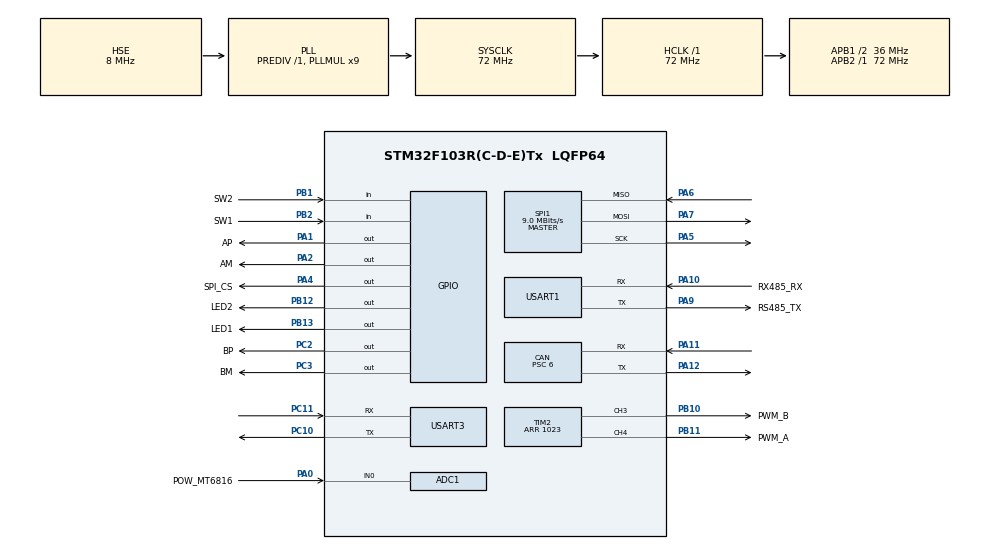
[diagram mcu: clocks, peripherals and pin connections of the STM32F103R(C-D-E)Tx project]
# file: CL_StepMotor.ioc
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ADC1.Channel-0\#ChannelRegularConversion=ADC_CHANNEL_0
ADC1.NbrOfConversionFlag=1
ADC1.Rank-0\#ChannelRegularConversion=1
ADC1.SamplingTime-0\#ChannelRegularConversion=ADC_SAMPLETIME_1CYCLE_5
ADC1.master=1
CAN.BS1=CAN_BS1_9TQ
CAN.BS2=CAN_BS2_2TQ
CAN.CalculateBaudRate=499999
CAN.CalculateTimeBit=2000
CAN.CalculateTimeQuantum=166.66666666666669
CAN.Prescaler=6
CAN.SJW=CAN_SJW_1TQ
Dma.ADC1.0.Direction=DMA_PERIPH_TO_MEMORY
Dma.ADC1.0.Instance=DMA1_Channel1
Dma.ADC1.0.MemDataAlignment=DMA_MDATAALIGN_HALFWORD
Dma.ADC1.0.MemInc=DMA_MINC_ENABLE
Dma.ADC1.0.Mode=DMA_CIRCULAR
Dma.ADC1.0.PeriphDataAlignment=DMA_PDATAALIGN_HALFWORD
Dma.ADC1.0.PeriphInc=DMA_PINC_DISABLE
Dma.ADC1.0.Priority=DMA_PRIORITY_VERY_HIGH
Dma.Request0=ADC1
Dma.Request1=USART3_RX
Dma.Request2=USART3_TX
Dma.Request3=USART1_RX
Dma.Request4=USART1_TX
Dma.USART1_RX.3.Direction=DMA_PERIPH_TO_MEMORY
Dma.USART1_RX.3.Instance=DMA1_Channel5
Dma.USART1_RX.3.MemDataAlignment=DMA_MDATAALIGN_BYTE
Dma.USART1_RX.3.MemInc=DMA_MINC_ENABLE
Dma.USART1_RX.3.Mode=DMA_CIRCULAR
Dma.USART1_RX.3.PeriphDataAlignment=DMA_PDATAALIGN_BYTE
Dma.USART1_RX.3.PeriphInc=DMA_PINC_DISABLE
Dma.USART1_RX.3.Priority=DMA_PRIORITY_HIGH
Dma.USART1_TX.4.Direction=DMA_MEMORY_TO_PERIPH
Dma.USART1_TX.4.Instance=DMA1_Channel4
Dma.USART1_TX.4.MemDataAlignment=DMA_MDATAALIGN_BYTE
Dma.USART1_TX.4.MemInc=DMA_MINC_ENABLE
Dma.USART1_TX.4.Mode=DMA_NORMAL
Dma.USART1_TX.4.PeriphDataAlignment=DMA_PDATAALIGN_BYTE
Dma.USART1_TX.4.PeriphInc=DMA_PINC_DISABLE
Dma.USART1_TX.4.Priority=DMA_PRIORITY_HIGH
Dma.USART3_RX.1.Direction=DMA_PERIPH_TO_MEMORY
Dma.USART3_RX.1.Instance=DMA1_Channel3
Dma.USART3_RX.1.MemDataAlignment=DMA_MDATAALIGN_BYTE
Dma.USART3_RX.1.MemInc=DMA_MINC_ENABLE
Dma.USART3_RX.1.Mode=DMA_CIRCULAR
Dma.USART3_RX.1.PeriphDataAlignment=DMA_PDATAALIGN_BYTE
Dma.USART3_RX.1.PeriphInc=DMA_PINC_DISABLE
Dma.USART3_RX.1.Priority=DMA_PRIORITY_VERY_HIGH
Dma.USART3_TX.2.Direction=DMA_MEMORY_TO_PERIPH
Dma.USART3_TX.2.Instance=DMA1_Channel2
Dma.USART3_TX.2.MemDataAlignment=DMA_MDATAALIGN_BYTE
Dma.USART3_TX.2.MemInc=DMA_MINC_ENABLE
Dma.USART3_TX.2.Mode=DMA_NORMAL
Dma.USART3_TX.2.PeriphDataAlignment=DMA_PDATAALIGN_BYTE
Dma.USART3_TX.2.PeriphInc=DMA_PINC_DISABLE
Dma.USART3_TX.2.Priority=DMA_PRIORITY_HIGH
Mcu.Family=STM32F1
Mcu.Name=STM32F103R(C-D-E)Tx
Mcu.Package=LQFP64
NVIC.CAN1_RX1_IRQn=true\:0\:0\:false\:false\:true\:true\:true\:true
NVIC.CAN1_SCE_IRQn=true\:0\:0\:false\:false\:true\:true\:true\:true
NVIC.DMA1_Channel1_IRQn=true\:0\:0\:false\:false\:true\:false\:true\:true
NVIC.DMA1_Channel2_IRQn=true\:0\:0\:false\:false\:true\:false\:true\:true
NVIC.DMA1_Channel3_IRQn=true\:0\:0\:false\:false\:true\:false\:true\:true
NVIC.DMA1_Channel4_IRQn=true\:0\:0\:false\:false\:true\:false\:true\:true
NVIC.DMA1_Channel5_IRQn=true\:0\:0\:false\:false\:true\:false\:true\:true
NVIC.PriorityGroup=NVIC_PRIORITYGROUP_4
NVIC.TIM1_UP_IRQn=true\:1\:0\:true\:false\:true\:true\:true\:true
NVIC.TIM3_IRQn=true\:2\:0\:true\:false\:true\:true\:true\:true
NVIC.TIM4_IRQn=true\:0\:0\:true\:false\:true\:true\:true\:true
NVIC.USART1_IRQn=true\:1\:0\:true\:false\:true\:true\:true\:true
NVIC.USART3_IRQn=true\:1\:0\:true\:false\:true\:true\:true\:true
NVIC.USB_HP_CAN1_TX_IRQn=true\:0\:0\:false\:false\:true\:true\:true\:true
NVIC.USB_LP_CAN1_RX0_IRQn=true\:0\:0\:false\:false\:true\:true\:true\:true
PA0-WKUP.GPIO_Label=POW_MT6816
PA0-WKUP.Signal=ADCx_IN0
PA1.GPIO_Label=AP
PA1.Signal=GPIO_Output
PA10.GPIO_Label=RX485_RX
PA10.Mode=Asynchronous
PA10.Signal=USART1_RX
PA11.Mode=CAN_Activate
PA11.Signal=CAN_RX
PA12.Mode=CAN_Activate
PA12.Signal=CAN_TX
PA13.Mode=Serial_Wire
PA13.Signal=SYS_JTMS-SWDIO
PA14.Mode=Serial_Wire
PA14.Signal=SYS_JTCK-SWCLK
PA2.GPIO_Label=AM
PA2.Signal=GPIO_Output
PA4.GPIO_Label=SPI_CS
PA4.GPIO_Speed=GPIO_SPEED_FREQ_HIGH
PA4.Signal=GPIO_Output
PA5.Mode=Full_Duplex_Master
PA5.Signal=SPI1_SCK
PA6.Mode=Full_Duplex_Master
PA6.Signal=SPI1_MISO
PA7.Mode=Full_Duplex_Master
PA7.Signal=SPI1_MOSI
PA9.GPIO_Label=RS485_TX
PA9.Mode=Asynchronous
PA9.Signal=USART1_TX
PB1.GPIO_Label=SW2
PB1.GPIO_PuPd=GPIO_PULLUP
PB1.Signal=GPIO_Input
PB10.GPIO_Label=PWM_B
PB10.Signal=S_TIM2_CH3
PB11.GPIO_Label=PWM_A
PB11.Signal=S_TIM2_CH4
PB12.GPIO_Label=LED2
PB12.Signal=GPIO_Output
PB13.GPIO_Label=LED1
PB13.Signal=GPIO_Output
PB2.GPIO_Label=SW1
PB2.GPIO_PuPd=GPIO_PULLUP
PB2.Signal=GPIO_Input
PC10.Mode=Asynchronous
PC10.Signal=USART3_TX
PC11.Mode=Asynchronous
PC11.Signal=USART3_RX
PC2.GPIO_Label=BP
PC2.Signal=GPIO_Output
PC3.GPIO_Label=BM
PC3.Signal=GPIO_Output
PD0-OSC_IN.Mode=HSE-External-Oscillator
PD0-OSC_IN.Signal=RCC_OSC_IN
PD1-OSC_OUT.Mode=HSE-External-Oscillator
PD1-OSC_OUT.Signal=RCC_OSC_OUT
ProjectManager.HeapSize=0x200
ProjectManager.StackSize=0x400
ProjectManager.TargetToolchain=MDK-ARM V5.32
RCC.ADCPresc=RCC_ADCPCLK2_DIV6
RCC.AHBFreq_Value=72000000
RCC.APB1CLKDivider=RCC_HCLK_DIV2
RCC.APB1Freq_Value=36000000
RCC.APB1TimFreq_Value=72000000
RCC.APB2Freq_Value=72000000
RCC.APB2TimFreq_Value=72000000
RCC.HCLKFreq_Value=72000000
RCC.PLLMUL=RCC_PLL_MUL9
RCC.PLLSourceVirtual=RCC_PLLSOURCE_HSE
RCC.SYSCLKFreq_VALUE=72000000
RCC.SYSCLKSource=RCC_SYSCLKSOURCE_PLLCLK
RCC.USBFreq_Value=72000000
SH.ADCx_IN0.0=ADC1_IN0,IN0
SH.S_TIM2_CH3.0=TIM2_CH3,PWM Generation3 CH3
SH.S_TIM2_CH4.0=TIM2_CH4,PWM Generation4 CH4
SPI1.BaudRatePrescaler=SPI_BAUDRATEPRESCALER_8
SPI1.CLKPhase=SPI_PHASE_2EDGE
SPI1.CLKPolarity=SPI_POLARITY_HIGH
SPI1.CalculateBaudRate=9.0 MBits/s
SPI1.DataSize=SPI_DATASIZE_16BIT
SPI1.Direction=SPI_DIRECTION_2LINES
SPI1.Mode=SPI_MODE_MASTER
SPI1.VirtualType=VM_MASTER
TIM1.AutoReloadPreload=TIM_AUTORELOAD_PRELOAD_ENABLE
TIM1.Period=9999
TIM1.Prescaler=71
TIM2.Channel-PWM\ Generation3\ CH3=TIM_CHANNEL_3
TIM2.Channel-PWM\ Generation4\ CH4=TIM_CHANNEL_4
TIM2.Period=1023
TIM3.Period=35
TIM3.Prescaler=3599
TIM4.AutoReloadPreload=TIM_AUTORELOAD_PRELOAD_ENABLE
TIM4.Period=49
TIM4.Prescaler=71
USART1.VirtualMode=VM_ASYNC
USART3.VirtualMode=VM_ASYNC
VP_TIM1_VS_ClockSourceINT.Mode=Internal
VP_TIM2_VS_ClockSourceINT.Mode=Internal
VP_TIM3_VS_ClockSourceINT.Mode=Internal
VP_TIM4_VS_ClockSourceINT.Mode=Internal
board=custom

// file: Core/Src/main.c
/* USER CODE BEGIN Header */
/**
  ******************************************************************************
  * @file           : main.c
  * @brief          : Main program body
  ******************************************************************************
  * @attention
  *
  * Copyright (c) 2026 STMicroelectronics.
  * All rights reserved.
  *
  * This software is licensed under terms that can be found in the LICENSE file
  * in the root directory of this software component.
  * If no LICENSE file comes with this software, it is provided AS-IS.
  *
  ******************************************************************************
  */
/* USER CODE END Header */
#include "main.h"
#include "adc.h"
#include "can.h"
#include "dma.h"
#include "spi.h"
#include "tim.h"
#include "usart.h"
#include "gpio.h"

/* USER CODE BEGIN Includes */
#include <stdio.h>
#include "led_drv.h"
#include "uart_drv.h"
#include "button_usr.h"
#include "tb67h450_usr.h"
#include "mt6816_usr.h"
#include "encoder_calibrator_usr.h"
#include "motor_usr.h"
#include "tim_test.h"
/* USER CODE END Includes */

/* USER CODE BEGIN PV */
/* 电机配置：默认值按 .cl/memory/ 推导（config_usr 未建，先硬编码默认，任务4 后接 EEPROM） */
static Motor_Config_T s_motor_config = {
    .encoderHomeOffset = 0,
    .ratedCurrent = 2000,                          /* 电流限幅 2000mA（42 步进额定 2A） */
    .ratedVelocity = 2 * USR_MOTOR_SUBDIVIDE_STEPS, /* 速度限幅 2圈/s（步进低速区间，防失步） */
    .ratedVelocityAcc = 100 * USR_MOTOR_SUBDIVIDE_STEPS, /* 加速度 100圈/s²
        =5120000（依据 .cl/memory/ planner_rated_velocity_acc） */
    .ratedCurrentAcc = 2000,                       /* 电流加速度 2000mA/s（memory） */
    .posKp = 32768,                                /* 位置环增益 32（128 实测：减速窗口缩至 672 步<滑行 512→冲过目标；32→窗口 3072 步，MIN_VEL 已解死区边缘拉锯） */
    .pidKp = 10,                                   /* 速度环增益 10（5 实测堵转输出上限 636mA 推不动齿隙摩擦→卡死；10→1270mA 冲破；MIN_VEL 防假速度拉锯） */
    .pidKd = 400,                                  /* 速度环阻尼 400（8/13 已验证；800 实测饱和成 bang-bang 激励振荡） */
    .stallProtectSwitch = false,                   /* 任务A 对照实验：关堵转保护（DCE 积分保持电流可能顶格
       误报；参考默认 enableStallProtect=false，memory config_default_enable） */
};

/* 任务A 测试钩子（DCE 积分保持落点精度对照实验，验收后删）：
   SW2 单击 → 90°/180°/270°/360° 循环，FINISH 后打印落点误差 err=raw-goal；
   100Hz 遥测持续打印 T:raw,vel,cur,state 观察到位保持段摆振
   8/17 fix（沿用 B）：按键后先等 STATE_RUNNING（确认新命令已启动）再等
   FINISH——否则按键瞬间电机仍停在旧目标（旧 FINISH 未失效）→ err 被污染 */
#define TEST_A_GOAL_NUM 4U
static const int32_t s_test_a_goals[TEST_A_GOAL_NUM] = {
    USR_MOTOR_SUBDIVIDE_STEPS / 4U,                /* 90° */
    USR_MOTOR_SUBDIVIDE_STEPS / 2U,                /* 180° */
    USR_MOTOR_SUBDIVIDE_STEPS * 3U / 4U,           /* 270° */
    USR_MOTOR_SUBDIVIDE_STEPS,                     /* 360° */
};
static uint8_t s_test_a_idx = 0U;
static int32_t s_test_a_goal = 0;
static uint8_t s_test_a_wait = 0U;                 /* 0=idle 1=等RUNNING 2=等FINISH */
static uint32_t s_test_a_wait_ms = 0U;             /* 等RUNNING 超时起点（防目标附近直接 FINISH 死锁） */
/* 仿真遥测回灌（cl /cl sim 数据源，勿随测试钩子删除）：
   100Hz 节流计数 + [TELE] 协议打印（telemetry_csv.py 解析 → Simulation/telemetry.csv） */
static uint32_t s_test_a_tel_cnt = 0U;             /* 100Hz 遥测节流计数 */
/* USER CODE END PV */

void SystemClock_Config(void);

/* USER CODE BEGIN 0 */
/* 定时心跳计数（中断回调内维护） */
static volatile uint32_t s_tick_20khz_cnt = 0;  /* 20kHz tick 计数 */
static uint32_t s_tick_100hz_cnt = 0;           /* 100Hz tick 计数 */
/* USER CODE END 0 */

int main(void)
{

  /* MCU Configuration--------------------------------------------------------*/

  /* Reset of all peripherals, Initializes the Flash interface and the Systick. */
  HAL_Init();

  /* Configure the system clock */
  SystemClock_Config();

  /* Initialize all configured peripherals */
  MX_GPIO_Init();
  MX_DMA_Init();
  MX_ADC1_Init();
  MX_CAN_Init();
  MX_SPI1_Init();
  MX_TIM1_Init();
  MX_TIM2_Init();
  MX_TIM4_Init();
  MX_USART1_UART_Init();
  MX_USART3_UART_Init();
  MX_TIM3_Init();
  /* USER CODE BEGIN 2 */
  /* 1. 时序测量初始化（宏版本；生产版空实现） */
  TEST_TIM_Init();
  /* 2. LED 状态指示初始化 */
  DRV_LED_Init();
  /* 2. 点亮 LED1 证明系统活着 */
  DRV_LED_Set(DRV_LED1, true);
  /* 3. 按键初始化：读取初始电平并清空事件 */
  USR_Button_Init();
  /* 4. 调试回传打印启动信息 */
  DRV_Uart_SendString("System Start!\r\n");
  /* 5. TB67H450 驱动初始化：启动 TIM2 PWM(CH3/CH4) + 方向脚全低(不励磁) */
  USR_TB67H450_Init();
  /* 6. MT6816 编码器初始化：读一次角度 */
  USR_MT6816_Init();
  /* 7. 编码器校准初始化：读 Flash 判断是否已有有效校准表 */
  USR_EncoderCalibrator_Init();
  /* 8. 电机闭环初始化：注入默认配置（电流限幅 1000mA / 速度限幅 30圈/s / P 环增益） */
  USR_Motor_SetConfig(&s_motor_config);
  USR_Motor_Init();
  /* 9. 启动定时中断：TIM1=100Hz(心跳/慢速任务)、TIM4=20kHz(电机控制 tick) */
  HAL_TIM_Base_Start_IT(&htim1);
  HAL_TIM_Base_Start_IT(&htim4);
  DRV_Uart_SendString("Timer tick started!\r\n");
  /* 10. 上电同按 SW1+SW2 触发编码器校准（复刻参考 main.c Button_IsPressed 双键逻辑） */
  if (USR_Button_IsPressed(USR_BUTTON1) && USR_Button_IsPressed(USR_BUTTON2))
  {
      USR_EncoderCalibrator_Trigger();
      DRV_Uart_SendString("Cali triggered!\r\n");
  }
  /* USER CODE END 2 */

  /* Infinite loop */
  while (1)
  {

    /* USER CODE BEGIN 3 */
    /* 时序测量回传 + T4 ADC 采样序列（宏版本；生产版空实现） */
    TEST_TIM_Report();
    TEST_TIM_AdcSampleTask();
    /* 编码器校准主循环任务（校准完成时校验数据并写 Flash） */
    USR_EncoderCalibrator_TickMainLoop();

    /* 仿真遥测回灌：主循环 ~20kHz / 200 = 100Hz，[TELE] 协议（cl /cl sim 数据源，勿删）
       格式: [TELE] <t_ms>,<pos细分步>,<vel细分步/s>,<cur_mA>,<mode>,<state>（全 %d 定点） */
    if (++s_test_a_tel_cnt >= 200U)
    {
        s_test_a_tel_cnt = 0U;
        {
            char tbuf[80];
            snprintf(tbuf, sizeof(tbuf), "[TELE] %lu,%ld,%ld,%ld,%u,%u\r\n",
                     (unsigned long)HAL_GetTick(),
                     (long)USR_Motor_GetRawPosition(),
                     (long)USR_Motor_GetRawVelocity(),
                     (long)(USR_Motor_GetCurrent() * 1000.0f),
                     (unsigned)USR_Motor_GetMode(),
                     (unsigned)USR_Motor_GetState());
            DRV_Uart_SendString(tbuf);
        }
    }
    /* 任务A 测试钩子：SW2 单击 → 90°/180°/270°/360° 循环（验收后删） */
    if (USR_Button_GetClick(USR_BUTTON2))
    {
        if (s_test_a_wait == 0U)
        {
            s_test_a_goal = s_test_a_goals[s_test_a_idx % TEST_A_GOAL_NUM];
            s_test_a_idx++;
            USR_Motor_SetMode(MODE_COMMAND_POSITION);
            USR_Motor_SetPosition(s_test_a_goal);
            {
                char buf[96];
                snprintf(buf, sizeof(buf),
                         "[TESTA] CMD goal=%ld raw=%ld vel=%ld state=%u cal=%d\r\n",
                         (long)s_test_a_goal, (long)USR_Motor_GetRawPosition(),
                         (long)USR_Motor_GetRawVelocity(),
                         (unsigned)USR_Motor_GetState(),
                         (int)USR_Motor_IsCalibrated());
                DRV_Uart_SendString(buf);
            }
            s_test_a_wait = 1U;
            s_test_a_wait_ms = HAL_GetTick();
        }
    }
    else if (s_test_a_wait == 1U)
    {
        /* 等待新命令启动（RUNNING）→ 再等 FINISH，防旧 FINISH 污染；
           目标附近（|goal-raw|≤死区）电机直接 FINISH 不经过 RUNNING，
           超时 500ms 仍无 RUNNING → 视为到位，转等 FINISH（8/17 实测死锁修复） */
        if (USR_Motor_GetState() == STATE_RUNNING)
        {
            s_test_a_wait = 2U;
        }
        else if ((HAL_GetTick() - s_test_a_wait_ms) > 500U)
        {
            s_test_a_wait = 2U;
        }
    }
    else if (s_test_a_wait == 2U)
    {
        if (USR_Motor_GetState() == STATE_FINISH)
        {
            int32_t err = USR_Motor_GetRawPosition() - s_test_a_goal;
            if (err > (int32_t)USR_MOTOR_SUBDIVIDE_STEPS / 2)
            {
                err -= (int32_t)USR_MOTOR_SUBDIVIDE_STEPS;
            }
            else if (err < -(int32_t)USR_MOTOR_SUBDIVIDE_STEPS / 2)
            {
                err += (int32_t)USR_MOTOR_SUBDIVIDE_STEPS;
            }
            char buf[40];
            snprintf(buf, sizeof(buf), "[TESTA] FINISH goal=%ld err=%ld\r\n",
                     (long)s_test_a_goal, (long)err);
            DRV_Uart_SendString(buf);
            s_test_a_wait = 3U;
            s_test_a_wait_ms = HAL_GetTick();
        }
    }
    else if (s_test_a_wait == 3U)
    {
        /* settle wait 3s: hold integral ramps to HOLD_MA in ~1.2s at
           1500mA (ki*err accumulation), then spring pulls rotor in ~1s */
        if ((HAL_GetTick() - s_test_a_wait_ms) >= 3000U)
        {
            int32_t err = USR_Motor_GetRawPosition() - s_test_a_goal;
            if (err > (int32_t)USR_MOTOR_SUBDIVIDE_STEPS / 2)
            {
                err -= (int32_t)USR_MOTOR_SUBDIVIDE_STEPS;
            }
            else if (err < -(int32_t)USR_MOTOR_SUBDIVIDE_STEPS / 2)
            {
                err += (int32_t)USR_MOTOR_SUBDIVIDE_STEPS;
            }
            char buf[40];
            snprintf(buf, sizeof(buf), "[TESTA] SETTLE goal=%ld err=%ld\r\n",
                     (long)s_test_a_goal, (long)err);
            DRV_Uart_SendString(buf);
            s_test_a_wait = 0U;
        }
    }
  }
  /* USER CODE END 3 */
}

void SystemClock_Config(void)
{
  RCC_OscInitTypeDef RCC_OscInitStruct = {0};
  RCC_ClkInitTypeDef RCC_ClkInitStruct = {0};
  RCC_PeriphCLKInitTypeDef PeriphClkInit = {0};

  /** Initializes the RCC Oscillators according to the specified parameters
  * in the RCC_OscInitTypeDef structure.
  */
  RCC_OscInitStruct.OscillatorType = RCC_OSCILLATORTYPE_HSE;
  RCC_OscInitStruct.HSEState = RCC_HSE_ON;
  RCC_OscInitStruct.HSEPredivValue = RCC_HSE_PREDIV_DIV1;
  RCC_OscInitStruct.HSIState = RCC_HSI_ON;
  RCC_OscInitStruct.PLL.PLLState = RCC_PLL_ON;
  RCC_OscInitStruct.PLL.PLLSource = RCC_PLLSOURCE_HSE;
  RCC_OscInitStruct.PLL.PLLMUL = RCC_PLL_MUL9;
  if (HAL_RCC_OscConfig(&RCC_OscInitStruct) != HAL_OK)
  {
    Error_Handler();
  }

  /** Initializes the CPU, AHB and APB buses clocks
  */
  RCC_ClkInitStruct.ClockType = RCC_CLOCKTYPE_HCLK|RCC_CLOCKTYPE_SYSCLK
                              |RCC_CLOCKTYPE_PCLK1|RCC_CLOCKTYPE_PCLK2;
  RCC_ClkInitStruct.SYSCLKSource = RCC_SYSCLKSOURCE_PLLCLK;
  RCC_ClkInitStruct.AHBCLKDivider = RCC_SYSCLK_DIV1;
  RCC_ClkInitStruct.APB1CLKDivider = RCC_HCLK_DIV2;
  RCC_ClkInitStruct.APB2CLKDivider = RCC_HCLK_DIV1;

  if (HAL_RCC_ClockConfig(&RCC_ClkInitStruct, FLASH_LATENCY_2) != HAL_OK)
  {
    Error_Handler();
  }
  PeriphClkInit.PeriphClockSelection = RCC_PERIPHCLK_ADC;
  PeriphClkInit.AdcClockSelection = RCC_ADCPCLK2_DIV6;
  if (HAL_RCCEx_PeriphCLKConfig(&PeriphClkInit) != HAL_OK)
  {
    Error_Handler();
  }
}

/* USER CODE BEGIN 4 */
/**
 * @输入 htim: 产生更新事件的定时器句柄
 * @输出 无
 * @说明 HAL 定时器周期中断回调：按实例分派 100Hz / 20kHz tick
 *   TIM1 周期=72MHz/(71+1)/(9999+1)=100Hz；TIM4=72MHz/(71+1)/(49+1)=20kHz
 * 依据 .cl/memory/ control_frequency=20000 + tim.c MX_TIM1_Init/MX_TIM4_Init
 */
void HAL_TIM_PeriodElapsedCallback(TIM_HandleTypeDef *htim)
{
    if (TIM1 == htim->Instance)
    {
        /* 100Hz 按键扫描：边沿检测 + 单击/长按事件 */
        USR_Button_Tick();

        /* 100Hz 心跳：LED1 翻转 */
        if (++s_tick_100hz_cnt >= 100U)
        {
            s_tick_100hz_cnt = 0U;
            DRV_LED_Set(DRV_LED1, (s_tick_20khz_cnt & 1U) ? true : false);
        }
    }
    else if (TIM4 == htim->Instance)
    {
        /* 20kHz 电机控制 tick：校准触发→校准状态机；否则→电机闭环 */
        s_tick_20khz_cnt++;
        if (USR_EncoderCalibrator_IsTriggered())
        {
            USR_EncoderCalibrator_Tick20kHz();
        }
        else
        {
            USR_Motor_Tick20kHz();
        }
    }
}
/* USER CODE END 4 */

void Error_Handler(void)
{
  __disable_irq();
  while (1)
  {
  }
}
